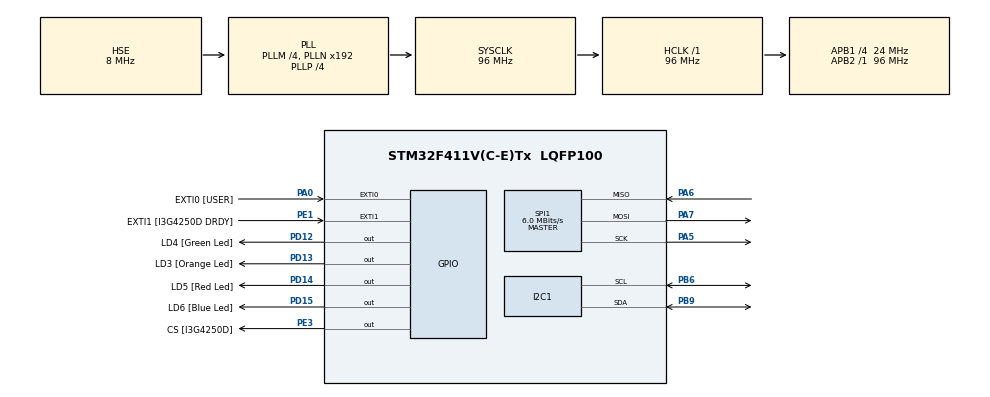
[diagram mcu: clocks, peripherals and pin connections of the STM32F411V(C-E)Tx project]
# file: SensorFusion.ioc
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I2C1.OwnAddress=0x19
Mcu.Family=STM32F4
Mcu.Name=STM32F411V(C-E)Tx
Mcu.Package=LQFP100
NVIC.EXTI0_IRQn=true\:0\:0\:false\:false\:true\:true\:true\:true
NVIC.PriorityGroup=NVIC_PRIORITYGROUP_0
PA0-WKUP.GPIO_Label=EXTI0 [USER]
PA0-WKUP.GPIO_ModeDefaultEXTI=GPIO_MODE_IT_RISING_FALLING
PA0-WKUP.GPIO_PuPd=GPIO_NOPULL
PA0-WKUP.Signal=GPXTI0
PA13.GPIO_Label=SWDIO
PA13.Mode=Trace_Asynchronous_SW
PA13.Signal=SYS_JTMS-SWDIO
PA14.GPIO_Label=SWCLK
PA14.Mode=Trace_Asynchronous_SW
PA14.Signal=SYS_JTCK-SWCLK
PA5.Mode=Full_Duplex_Master
PA5.Signal=SPI1_SCK
PA6.Mode=Full_Duplex_Master
PA6.Signal=SPI1_MISO
PA7.Mode=Full_Duplex_Master
PA7.Signal=SPI1_MOSI
PB3.GPIO_Label=SWO
PB3.Mode=Trace_Asynchronous_SW
PB3.Signal=SYS_JTDO-SWO
PB6.Mode=I2C
PB6.Signal=I2C1_SCL
PB9.Mode=I2C
PB9.Signal=I2C1_SDA
PC14-OSC32_IN.GPIO_Label=PC14-OSC32_IN
PC14-OSC32_IN.Mode=LSE-External-Oscillator
PC14-OSC32_IN.Signal=RCC_OSC32_IN
PC15-OSC32_OUT.GPIO_Label=PC15-OSC32_OUT
PC15-OSC32_OUT.Mode=LSE-External-Oscillator
PC15-OSC32_OUT.Signal=RCC_OSC32_OUT
PD12.GPIO_Label=LD4 [Green Led]
PD12.GPIO_PuPd=GPIO_NOPULL
PD12.GPIO_Speed=GPIO_SPEED_FREQ_LOW
PD12.Signal=GPIO_Output
PD13.GPIO_Label=LD3 [Orange Led]
PD13.GPIO_PuPd=GPIO_NOPULL
PD13.GPIO_Speed=GPIO_SPEED_FREQ_LOW
PD13.Signal=GPIO_Output
PD14.GPIO_Label=LD5 [Red Led]
PD14.GPIO_PuPd=GPIO_NOPULL
PD14.GPIO_Speed=GPIO_SPEED_FREQ_LOW
PD14.Signal=GPIO_Output
PD15.GPIO_Label=LD6 [Blue Led]
PD15.GPIO_PuPd=GPIO_NOPULL
PD15.GPIO_Speed=GPIO_SPEED_FREQ_LOW
PD15.Signal=GPIO_Output
PE1.GPIO_Label=EXTI1 [I3G4250D DRDY]
PE1.Signal=GPXTI1
PE3.GPIO_Label=CS [I3G4250D]
PE3.Signal=GPIO_Output
PH0\ -\ OSC_IN.GPIO_Label=PH0-OSC_IN
PH0\ -\ OSC_IN.Mode=HSE-External-Oscillator
PH0\ -\ OSC_IN.Signal=RCC_OSC_IN
PH1\ -\ OSC_OUT.GPIO_Label=PH1-OSC_OUT
PH1\ -\ OSC_OUT.Mode=HSE-External-Oscillator
PH1\ -\ OSC_OUT.Signal=RCC_OSC_OUT
ProjectManager.HeapSize=0x200
ProjectManager.StackSize=0x400
ProjectManager.TargetToolchain=STM32CubeIDE
RCC.48MHZClocksFreq_Value=48000000
RCC.AHBFreq_Value=96000000
RCC.APB1CLKDivider=RCC_HCLK_DIV4
RCC.APB1Freq_Value=24000000
RCC.APB1TimFreq_Value=48000000
RCC.APB2Freq_Value=96000000
RCC.APB2TimFreq_Value=96000000
RCC.CortexFreq_Value=96000000
RCC.HCLKFreq_Value=96000000
RCC.HSE_VALUE=8000000
RCC.HSI_VALUE=16000000
RCC.PLLI2SM=5
RCC.PLLI2SN=200
RCC.PLLM=4
RCC.PLLP=RCC_PLLP_DIV4
RCC.PLLQ=8
RCC.PLLSourceVirtual=RCC_PLLSOURCE_HSE
RCC.SYSCLKFreq_VALUE=96000000
RCC.SYSCLKSource=RCC_SYSCLKSOURCE_PLLCLK
RCC.VCOOutputFreq_Value=384000000
SPI1.BaudRatePrescaler=SPI_BAUDRATEPRESCALER_16
SPI1.CLKPolarity=SPI_POLARITY_LOW
SPI1.CalculateBaudRate=6.0 MBits/s
SPI1.Direction=SPI_DIRECTION_2LINES
SPI1.Mode=SPI_MODE_MASTER
SPI1.VirtualType=VM_MASTER
TIM10.Period=50000 - 1
TIM10.Prescaler=TIM10_PRESCALER - 1
TIM11.Period=50000 - 1
TIM11.Prescaler=TIM11_PRESCALER - 1
TIM5.Prescaler=TIM5_PRESCALER - 1
VP_TIM10_VS_ClockSourceINT.Mode=Enable_Timer
VP_TIM11_VS_ClockSourceINT.Mode=Enable_Timer
VP_TIM5_VS_ClockSourceINT.Mode=Internal
board=STM32F411E-DISCO

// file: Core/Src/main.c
/* USER CODE BEGIN Header */
/**
 ******************************************************************************
 * @file           : main.c
 * @brief          : Main program body
 ******************************************************************************
 * @attention
 *
 * Copyright (c) 2022 STMicroelectronics.
 * All rights reserved.
 *
 * This software is licensed under terms that can be found in the LICENSE file
 * in the root directory of this software component.
 * If no LICENSE file comes with this software, it is provided AS-IS.
 *
 ******************************************************************************
 */

/** Pin guide
 * LIS3MDL GRAY 3V3
 * LIS3MDL BLACK GND
 * LIS3MDL VIOLET PB9
 * LIS3MDL WHITE PB6
 * UART BLACK GND
 * UART RED 5V
 * UART GREEN PA10
 * UART WHITE PA9
 */
/* USER CODE END Header */
#include "main.h"
#include "i2c.h"
#include "spi.h"
#include "tim.h"
#include "gpio.h"

/* USER CODE BEGIN PTD */

typedef enum
{
	ORANGE = LD3_Pin,
	GREEN = LD4_Pin,
	RED = LD5_Pin,
	BLUE = LD6_Pin
} led_t;

typedef enum
{
	INIT,
	IDLE,
	BTN,
	GYROCAL,
	MAGCAL,
	CONTROL,
} program_mode_t;

/* USER CODE END PTD */

/* USER CODE BEGIN PD */

#define	UPDATE_ROLLING_MEAN(mean, new, n) mean = (mean * n + new) / (n + 1)
#define HCLK_kHz 96000U
#define APB1_kHz 48000U
#define TIM5_RATE_kHz (APB1_kHz / TIM5_PRESCALER) // counts per ms
#define TIM10_RATE_kHz (HCLK_kHz / TIM10_PRESCALER) // counts per ms
#define TIM11_RATE_kHz (HCLK_kHz / TIM11_PRESCALER) // counts per ms

/* USER CODE END PD */

/* USER CODE BEGIN PV */
program_mode_t program_mode = INIT;
uint16_t button_time = 0;
uint32_t gyrocal_time;
uint32_t magcal_time;

// control structures
stmdev_ctx_t accel_ctx;
stmdev_ctx_t gyro_ctx;
stmdev_ctx_t mag_i_ctx;
stmdev_ctx_t mag_ctx;

#include "state.h"

// led variables
// so we can have a task use a pointer to one of these 4 LEDs in its data argument
// instead of making 4 tasks to use each LED
led_t orange_led_value = ORANGE;
led_t green_led_value = GREEN;
led_t blue_led_value = BLUE;
led_t red_led_value = RED;

/* USER CODE END PV */

void SystemClock_Config(void);

/* USER CODE BEGIN 0 */

// wrapping HAL function for brevity
void toggle_led(led_t led)
{
	HAL_GPIO_TogglePin(GPIOD, led);
}
void set_led(led_t led)
{
	HAL_GPIO_WritePin(GPIOD, led, GPIO_PIN_SET);
}
void reset_led(led_t led)
{
	HAL_GPIO_WritePin(GPIOD, led, GPIO_PIN_RESET);
}
void reset_all_led()
{
	HAL_GPIO_WritePin(GPIOD, RED, GPIO_PIN_RESET);
	HAL_GPIO_WritePin(GPIOD, BLUE, GPIO_PIN_RESET);
	HAL_GPIO_WritePin(GPIOD, GREEN, GPIO_PIN_RESET);
	HAL_GPIO_WritePin(GPIOD, ORANGE, GPIO_PIN_RESET);
}

// overrides syscall _write so we can use serial wire output (stlink)
int _write(int file, char* ptr, int len)
{
	for (int i = 0; i < len; i++)
	{
		ITM_SendChar(ptr[i]);
	}
	return len;
}

/* Gyroscope setup
 * Set: ODR, FS, DRDY interrupt
 */
void init_gyro(void)
{
#ifdef INC_DEBUG_H_
	printf("Initializing gyro\n");
#endif

	init_gyro_ctx(&gyro_ctx, &hspi1);

	uint8_t gyro_controls[] = {0x07U, 0, 0, 0, 0}; // control register defaults
	i3g4250d_write_reg(&gyro_ctx, I3G4250D_CTRL_REG1, gyro_controls, sizeof(gyro_controls));

	i3g4250d_data_rate_set(&gyro_ctx, I3G4250D_ODR_400Hz);
	i3g4250d_full_scale_set(&gyro_ctx, I3G4250D_FS);
	i3g4250d_int2_route_t gyro_int2_cfg = {.i2_empty = 0, .i2_orun = 0, .i2_wtm = 0, .i2_drdy = 0};
	i3g4250d_pin_int2_route_set(&gyro_ctx, gyro_int2_cfg);

	// print to confirm values
	i3g4250d_read_reg(&gyro_ctx, I3G4250D_CTRL_REG1, gyro_controls, sizeof(gyro_controls));

#ifdef INC_DEBUG_H_
	printf("Gyro control registers: 0x");
	print_hex(gyro_controls, 5);
#endif
}

/* Accelerometer setup
 * Set: ODR, FS, Power mode (Low power, normal, high resolution)
 */
void init_accel(void)
{
#ifdef INC_DEBUG_H_
	printf("Initializing accelerometer\n");
	init_accel_ctx(&accel_ctx, &hi2c1);
#endif

	// default values fromm datasheet
	uint8_t accel_controls[] = {0x07U, 0, 0, 0, 0, 0};
	lsm303agr_write_reg(&accel_ctx, LSM303AGR_CTRL_REG1_A,
			accel_controls, sizeof(accel_controls));

	lsm303agr_xl_data_rate_set(&accel_ctx, LSM303AGR_XL_ODR_100Hz);
	lsm303agr_xl_operating_mode_set(&accel_ctx, LSM303AGR_HR_12bit);
	lsm303agr_xl_full_scale_set(&accel_ctx, ACCEL_SCALE);

	lsm303agr_read_reg(&accel_ctx, LSM303AGR_CTRL_REG1_A, accel_controls, sizeof(accel_controls));

#ifdef INC_DEBUG_H_
	printf("Accelerometer control registers: 0x");
	print_hex(accel_controls, sizeof(accel_controls));
#endif
}

void init_devices(void)
{
	printf("Testing API\n");

	__disable_irq(); // the gyro DRDY messes with stuff if we don't do this

	init_gyro();
//	init_accel();
	init_mag_ctx(&mag_ctx, &hi2c1);
	init_mag(&mag_ctx);

	__enable_irq();
}

int32_t toggle_led_task(void* led, uint32_t elapsed)
{
	toggle_led(*((led_t*) led));
	return 0;
}

int32_t mag_print(void* data, uint32_t elapsed)
{
	// exit after 30s
	if ((__HAL_TIM_GET_COUNTER(&htim5) - magcal_time) > 30U * 1000U * TIM5_RATE_kHz)
	{
		program_mode = IDLE;
		reset_led(BLUE);
#ifdef INC_DEBUG_H_
		printf("Finished magnetometer calibration\n");
#endif
	}
	int32_t ret = get_mag(&mag_ctx, data);
	mag_field_t* field = (mag_field_t*) data;
	printf("%f,%f,%f\n", field->x, field->y, field->z);
	return ret;
}

int32_t add_gyro_measurement(void* unused, uint32_t elapsed)
{
	// exit after 3s
	if ((__HAL_TIM_GET_COUNTER(&htim5) - gyrocal_time) > 3U * 1000U * TIM5_RATE_kHz)
	{
		program_mode = IDLE;
		reset_led(GREEN);
#ifdef INC_DEBUG_H_
		printf("Gyroscope offset: %3.2f, %3.2f, %3.2f, [dps]\n",
				angular_rate_bias.x, angular_rate_bias.y, angular_rate_bias.z);
#endif
		return 0;
	}

	int32_t ret = get_angular_rate(&gyro_ctx, &angular_rate_raw);
	if (ret == 0)
	{
#ifdef INC_DEBUG_H_
		printf("Raw anglar rate: %3.2f, %3.2f, %3.2f, [dps]\n",
				angular_rate_raw.x, angular_rate_raw.y, angular_rate_raw.z);
#endif
		UPDATE_ROLLING_MEAN(angular_rate_bias.x, angular_rate_raw.x, angular_rate_bias_n);
		UPDATE_ROLLING_MEAN(angular_rate_bias.y, angular_rate_raw.y, angular_rate_bias_n);
		UPDATE_ROLLING_MEAN(angular_rate_bias.z, angular_rate_raw.z, angular_rate_bias_n);
		angular_rate_bias_n++;
	}
	return ret;
}

int32_t measure_angular_rate(void* unused, uint32_t elapsed)
{
	int32_t ret = get_angular_rate(&gyro_ctx, &angular_rate_raw);
	if (ret == 0)
	{
		angular_rate = apply_gyro_cal(angular_rate_raw, angular_rate_bias);
		angular_rate_time = __HAL_TIM_GET_COUNTER(&htim5);
	}
	return ret;
}

int32_t print_mag_field(void* data, uint32_t elapsed)
{
	return 0;
}

int32_t measure_mag_field(void* unused, uint32_t elapsed)
{
	int32_t ret = get_mag(&mag_ctx, &mag_field_raw);
	if (ret == 0)
	{
		mag_field = apply_mag_cal(mag_field_raw, mag_hard_bias);
		mag_field_time = __HAL_TIM_GET_COUNTER(&htim5);
	}
	return ret;
}

int32_t put_smooth_mag_field(void* data, uint32_t elapsed)
{
	int32_t ret = get_mag(&mag_ctx, &mag_field_raw);
	if (ret)
	{
		return ret;
	}

	mag_field = apply_mag_cal(mag_field_raw, mag_hard_bias);
	put_mag(&mag_ringbuf, mag_field);
	return 0;
}

int32_t print_smooth_mag_field(void* data, uint32_t elapsed)
{
	mag_field_t field = get_smooth_mag(&mag_ringbuf);
	// printf("Raw: %f,%f,%f\t", mag_field_raw.x, mag_field_raw.y, mag_field_raw.z);
	printf("Smooth: %f,%f,%f\t", field.x, field.y, field.z);
	printf("Heading: %3.2f deg\n", get_heading(field));
	return 0;
}

int32_t print_tim5(void* unused, uint32_t elapsed)
{
	uint32_t time = __HAL_TIM_GET_COUNTER(&htim5);
	printf("Elapsed time: %lu ms\n", time / TIM5_RATE_kHz);
	return 0;
}

// just flash while idle
bad_task_t idle_routines[] = {
	{.task = toggle_led_task, .data = &orange_led_value, .timer = &htim11, .period = 2500U, .last = 0U},
	{.task = print_tim5, .data = NULL, .timer = &htim5, .period = 10000U, .last = 0U},
};

// delay for one second, store and print the rolling average over two seconds of measurement
bad_task_t gyrocal_routines[] = {
	{.task = add_gyro_measurement, .data = NULL, .timer = &htim11, .period = 25U, .last = 0U},
	{.task = toggle_led_task, .data = &green_led_value, .timer = &htim11, .period = 1000U, .last = 0U},
};

// delay for one second, print out 10 seconds of measurements
bad_task_t magcal_routines[] = {
	{.task = mag_print, .data = &mag_field_raw, .timer = &htim11, .period = 70u, .last = 0u},
	{.task = toggle_led_task, .data = &blue_led_value, .timer = &htim11, .period = 1000U, .last = 0U},
};

bad_task_t btn_routines[] = {
	{.task = toggle_led_task, .data = &red_led_value, .timer = &htim11, .period = 2500U, .last = 0U},
};

bad_task_t control_routines[] = {
//	{.task = measure_mag_field, .data = NULL, .timer = &htim11, .period = 70U, .last = 0U},
//	{.task = measure_angular_rate, .data = NULL, .timer = &htim11, .period = 25U, .last = 0U},
	{.task = put_smooth_mag_field, .data = NULL, .timer = &htim5, .period = 70U, .last = 0U},
//	{.task = print_mag_field, .data = NULL, .timer = &htim5, .period = 1000U, .last = 0U},
	{.task = print_smooth_mag_field, .data = NULL, .timer = &htim5, .period = 500U, .last = 0U},
	{.task = toggle_led_task, .data = &orange_led_value, .timer = &htim11, .period = 500U, .last = 0U},
};

/* USER CODE END 0 */

int main(void)
{
  /* USER CODE BEGIN 1 */

  program_mode = INIT;
  /* USER CODE END 1 */

  /* MCU Configuration--------------------------------------------------------*/

  /* Reset of all peripherals, Initializes the Flash interface and the Systick. */
  HAL_Init();

  /* Configure the system clock */
  SystemClock_Config();

  /* Initialize all configured peripherals */
  MX_GPIO_Init();
  MX_SPI1_Init();
  MX_I2C1_Init();
  MX_TIM10_Init();
  MX_TIM11_Init();
  MX_TIM5_Init();
  /* USER CODE BEGIN 2 */

  init_devices();

  /* USER CODE END 2 */

  /* Infinite loop */
  /* USER CODE BEGIN WHILE */
	// start timers
	HAL_TIM_Base_Start(&htim5);
	HAL_TIM_Base_Start(&htim10);
	HAL_TIM_Base_Start(&htim11);

	program_mode = IDLE;
	while (1)
	{

    /* USER CODE END WHILE */

    /* USER CODE BEGIN 3 */
		switch(program_mode)
		{
			case(IDLE):
				RUN_TASKS(idle_routines);
				break;
			case(GYROCAL):
				RUN_TASKS(gyrocal_routines);
				break;
			case(MAGCAL):
				RUN_TASKS(magcal_routines);
				break;
			case(CONTROL):
				RUN_TASKS(control_routines);
				break;
			case(BTN):
				RUN_TASKS(btn_routines);
				break;
			default:
				RUN_TASKS(idle_routines);
//				printf("Invalid program mode\n");
				break;
		}
	}
  /* USER CODE END 3 */
}

void SystemClock_Config(void)
{
  RCC_OscInitTypeDef RCC_OscInitStruct = {0};
  RCC_ClkInitTypeDef RCC_ClkInitStruct = {0};

  /** Configure the main internal regulator output voltage
  */
  __HAL_RCC_PWR_CLK_ENABLE();
  __HAL_PWR_VOLTAGESCALING_CONFIG(PWR_REGULATOR_VOLTAGE_SCALE1);

  /** Initializes the RCC Oscillators according to the specified parameters
  * in the RCC_OscInitTypeDef structure.
  */
  RCC_OscInitStruct.OscillatorType = RCC_OSCILLATORTYPE_HSE;
  RCC_OscInitStruct.HSEState = RCC_HSE_ON;
  RCC_OscInitStruct.PLL.PLLState = RCC_PLL_ON;
  RCC_OscInitStruct.PLL.PLLSource = RCC_PLLSOURCE_HSE;
  RCC_OscInitStruct.PLL.PLLM = 4;
  RCC_OscInitStruct.PLL.PLLN = 192;
  RCC_OscInitStruct.PLL.PLLP = RCC_PLLP_DIV4;
  RCC_OscInitStruct.PLL.PLLQ = 8;
  if (HAL_RCC_OscConfig(&RCC_OscInitStruct) != HAL_OK)
  {
    Error_Handler();
  }

  /** Initializes the CPU, AHB and APB buses clocks
  */
  RCC_ClkInitStruct.ClockType = RCC_CLOCKTYPE_HCLK|RCC_CLOCKTYPE_SYSCLK
                              |RCC_CLOCKTYPE_PCLK1|RCC_CLOCKTYPE_PCLK2;
  RCC_ClkInitStruct.SYSCLKSource = RCC_SYSCLKSOURCE_PLLCLK;
  RCC_ClkInitStruct.AHBCLKDivider = RCC_SYSCLK_DIV1;
  RCC_ClkInitStruct.APB1CLKDivider = RCC_HCLK_DIV4;
  RCC_ClkInitStruct.APB2CLKDivider = RCC_HCLK_DIV1;

  if (HAL_RCC_ClockConfig(&RCC_ClkInitStruct, FLASH_LATENCY_3) != HAL_OK)
  {
    Error_Handler();
  }
}

/* USER CODE BEGIN 4 */

void handle_button(void)
{
	GPIO_PinState button_state = HAL_GPIO_ReadPin(GPIOA, GPIO_PIN_0);
	if (button_state == GPIO_PIN_SET && program_mode == IDLE)
	{
		program_mode = BTN;
		button_time = __HAL_TIM_GET_COUNTER(&htim5);
	}
	else if (button_state == GPIO_PIN_RESET && program_mode == BTN)
	{
		uint16_t elapsed = __HAL_TIM_GET_COUNTER(&htim5) - button_time;
		int ct_per_sec = 1000 * TIM5_RATE_kHz;
		printf("%3.2fs elapsed, ", ((float_t) elapsed) / ct_per_sec);
		if (elapsed < ct_per_sec)
		{
			printf("Mode change to GYROCAL\n");
			program_mode = GYROCAL;
			gyrocal_time = __HAL_TIM_GET_COUNTER(&htim5);
		}
		else if (elapsed < 3 * ct_per_sec)
		{
			printf("Mode change to MAGCAL\n");
			program_mode = MAGCAL;
			magcal_time = __HAL_TIM_GET_COUNTER(&htim5);
		}
		else
		{
			printf("Mode change to CONTROL\n");
			program_mode = CONTROL;
		}
	}
}

void HAL_GPIO_EXTI_Callback(uint16_t GPIO_Pin)
{
	printf("EXTI %u\n", GPIO_Pin);
	switch(GPIO_Pin)
	{
		case(1):
			handle_button();
			break;
		default:
			printf("Pin %u ISR not defined\n", GPIO_Pin);
			break;
	}
}
/* USER CODE END 4 */

void Error_Handler(void)
{
  /* USER CODE BEGIN Error_Handler_Debug */

	/* User can add his own implementation to report the HAL error return state */
	__disable_irq();
	while (1)
	{
		toggle_led(RED);
		HAL_Delay(50);
	}
  /* USER CODE END Error_Handler_Debug */
}
